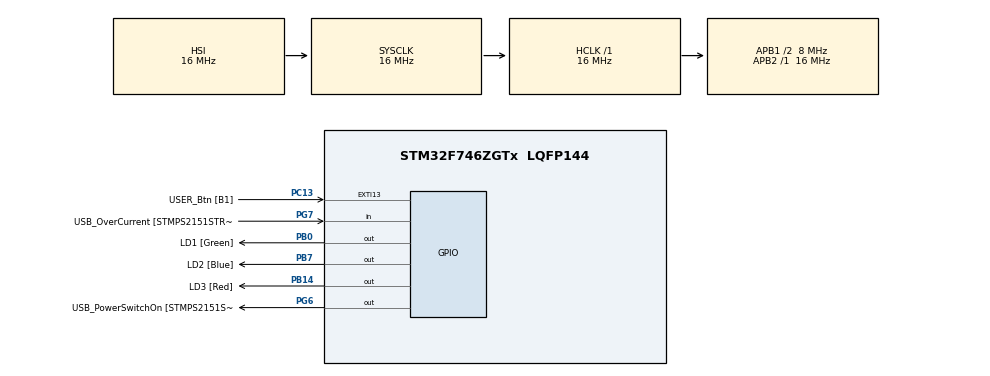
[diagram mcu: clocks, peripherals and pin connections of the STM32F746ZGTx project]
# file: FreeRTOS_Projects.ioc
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Mcu.Family=STM32F7
Mcu.Name=STM32F746ZGTx
Mcu.Package=LQFP144
NVIC.PriorityGroup=NVIC_PRIORITYGROUP_4
NVIC.TIM6_DAC_IRQn=true\:15\:0\:false\:false\:true\:false\:true\:true
NVIC.TimeBase=TIM6_DAC_IRQn
NVIC.TimeBaseIP=TIM6
PA1.GPIO_Label=RMII_REF_CLK [LAN8742A-CZ-TR_REFCLK0]
PA1.Signal=ETH_REF_CLK
PA10.GPIO_Label=USB_ID
PA10.Signal=USB_OTG_FS_ID
PA11.GPIO_Label=USB_DM
PA11.Signal=USB_OTG_FS_DM
PA12.GPIO_Label=USB_DP
PA12.Signal=USB_OTG_FS_DP
PA13.GPIO_Label=TMS
PA13.Signal=SYS_JTMS-SWDIO
PA14.GPIO_Label=TCK
PA14.Signal=SYS_JTCK-SWCLK
PA2.GPIO_Label=RMII_MDIO [LAN8742A-CZ-TR_MDIO]
PA2.Signal=ETH_MDIO
PA7.GPIO_Label=RMII_CRS_DV [LAN8742A-CZ-TR_CRS_DV]
PA7.Signal=ETH_CRS_DV
PA8.GPIO_Label=USB_SOF [TP1]
PA8.Signal=USB_OTG_FS_SOF
PA9.GPIO_Label=USB_VBUS
PA9.Signal=USB_OTG_FS_VBUS
PB0.GPIO_Label=LD1 [Green]
PB0.Signal=GPIO_Output
PB13.GPIO_Label=RMII_TXD1 [LAN8742A-CZ-TR_TXD1]
PB13.Signal=ETH_TXD1
PB14.GPIO_Label=LD3 [Red]
PB14.Signal=GPIO_Output
PB3.GPIO_Label=SW0
PB3.Signal=SYS_JTDO-SWO
PB7.GPIO_Label=LD2 [Blue]
PB7.Signal=GPIO_Output
PB8.Signal=I2C1_SCL
PB9.Signal=I2C1_SDA
PC1.GPIO_Label=RMII_MDC [LAN8742A-CZ-TR_MDC]
PC1.Signal=ETH_MDC
PC13.GPIO_Label=USER_Btn [B1]
PC13.Signal=GPXTI13
PC14/OSC32_IN.Signal=RCC_OSC32_IN
PC15/OSC32_OUT.Signal=RCC_OSC32_OUT
PC4.GPIO_Label=RMII_RXD0 [LAN8742A-CZ-TR_RXD0]
PC4.Signal=ETH_RXD0
PC5.GPIO_Label=RMII_RXD1 [LAN8742A-CZ-TR_RXD1]
PC5.Signal=ETH_RXD1
PD8.GPIO_Label=STLK_RX [STM32F103CBT6_PA3]
PD8.Signal=USART3_TX
PD9.GPIO_Label=STLK_TX [STM32F103CBT6_PA2]
PD9.Signal=USART3_RX
PG11.GPIO_Label=RMII_TX_EN [LAN8742A-CZ-TR_TXEN]
PG11.Signal=ETH_TX_EN
PG13.GPIO_Label=RMII_TXD0 [LAN8742A-CZ-TR_TXD0]
PG13.Signal=ETH_TXD0
PG6.GPIO_Label=USB_PowerSwitchOn [STMPS2151STR_EN]
PG6.Signal=GPIO_Output
PG7.GPIO_Label=USB_OverCurrent [STMPS2151STR_FAULT]
PG7.Signal=GPIO_Input
PH0/OSC_IN.GPIO_Label=MCO [STM32F103CBT6_PA8]
PH0/OSC_IN.Signal=RCC_OSC_IN
PH1/OSC_OUT.Signal=RCC_OSC_OUT
ProjectManager.HeapSize=0x200
ProjectManager.StackSize=0x400
ProjectManager.TargetToolchain=STM32CubeIDE
RCC.48MHZClocksFreq_Value=24000000
RCC.AHBFreq_Value=16000000
RCC.APB1CLKDivider=RCC_HCLK_DIV2
RCC.APB1Freq_Value=8000000
RCC.APB1TimFreq_Value=16000000
RCC.APB2Freq_Value=16000000
RCC.APB2TimFreq_Value=16000000
RCC.CortexFreq_Value=16000000
RCC.HCLKFreq_Value=16000000
RCC.HSE_VALUE=8000000
RCC.HSI_VALUE=16000000
RCC.LSE_VALUE=32768
RCC.PLLMUL=RCC_PLL_MUL9
RCC.PRESCALERUSB=RCC_USBCLKSOURCE_PLL_DIV1_5
RCC.SYSCLKFreq_VALUE=16000000
RCC.SYSCLKSourceVirtual=RCC_SYSCLKSOURCE_PLLCLK
RCC.USBFreq_Value=96000000
RCC.VCOOutputFreq_Value=192000000
VP_SYS_VS_tim6.Mode=TIM6
board=NUCLEO-F746ZG

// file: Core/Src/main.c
/* USER CODE BEGIN Header */
/**
  ******************************************************************************
  * @file           : main.c
  * @brief          : Main program body
  ******************************************************************************
  * @attention
  *
  * Copyright (c) 2025 STMicroelectronics.
  * All rights reserved.
  *
  * This software is licensed under terms that can be found in the LICENSE file
  * in the root directory of this software component.
  * If no LICENSE file comes with this software, it is provided AS-IS.
  *
  ******************************************************************************
  */
/* USER CODE END Header */
#include "main.h"

/* USER CODE BEGIN Includes */
#include "FreeRTOS.h"
#include "task.h"
#include <stdio.h>
/* USER CODE END Includes */

/* USER CODE BEGIN PV */
#define DWT_CTRL 	(*(volatile uint32_t*)0xE0001000)
#define DWT_CYCCNT 	(volatile uint32_t*)0xE0001004
/* USER CODE END PV */

void SystemClock_Config(void);
static void MX_GPIO_Init(void);

/* USER CODE BEGIN PFP */

static void task1_handler(void *params);
static void task2_handler(void *params);

/* USER CODE END PFP */

int main(void)
{

  /* USER CODE BEGIN 1 */
    TaskHandle_t task1_handle;
    TaskHandle_t task2_handle;

    BaseType_t status;
  /* USER CODE END 1 */

  /* MCU Configuration--------------------------------------------------------*/

  /* Reset of all peripherals, Initializes the Flash interface and the Systick. */
  HAL_Init();

  /* Configure the system clock */
  SystemClock_Config();

  /* Initialize all configured peripherals */
  MX_GPIO_Init();
  /* USER CODE BEGIN 2 */
	// Enable the DWT CYCCNT counter
  DWT_CTRL |= ( 1 <<0 ); // Set the CYCCNTENA bit in DWT_CTRL register to enable the cycle counter

  SEGGER_SYSVIEW_Conf(); // Configure SEGGER SystemView
  SEGGER_SYSVIEW_Start(); // Start recording
	// Create two tasks
  status = xTaskCreate(task1_handler, "Task1", 200, "Hello world from Task 1", 2, &task1_handle);
  configASSERT(status == pdPASS); // Ensure task creation was successful

  status = xTaskCreate(task2_handler, "Task2", 200, "Hello world from Task 2", 2, &task2_handle);
  configASSERT(status == pdPASS); // Ensure task creation was successful

    // Start the
  //  printf("Starting the scheduler\n");
   vTaskStartScheduler();

  /* USER CODE END 2 */

  /* Infinite loop */
  while (1)
  {

  }
}

void SystemClock_Config(void)
{
  RCC_OscInitTypeDef RCC_OscInitStruct = {0};
  RCC_ClkInitTypeDef RCC_ClkInitStruct = {0};

  /** Configure the main internal regulator output voltage
  */
  __HAL_RCC_PWR_CLK_ENABLE();
  __HAL_PWR_VOLTAGESCALING_CONFIG(PWR_REGULATOR_VOLTAGE_SCALE3);

  /** Initializes the RCC Oscillators according to the specified parameters
  * in the RCC_OscInitTypeDef structure.
  */
  RCC_OscInitStruct.OscillatorType = RCC_OSCILLATORTYPE_HSI;
  RCC_OscInitStruct.HSIState = RCC_HSI_ON;
  RCC_OscInitStruct.HSICalibrationValue = RCC_HSICALIBRATION_DEFAULT;
  RCC_OscInitStruct.PLL.PLLState = RCC_PLL_NONE;
  if (HAL_RCC_OscConfig(&RCC_OscInitStruct) != HAL_OK)
  {
    Error_Handler();
  }

  /** Initializes the CPU, AHB and APB buses clocks
  */
  RCC_ClkInitStruct.ClockType = RCC_CLOCKTYPE_HCLK|RCC_CLOCKTYPE_SYSCLK
                              |RCC_CLOCKTYPE_PCLK1|RCC_CLOCKTYPE_PCLK2;
  RCC_ClkInitStruct.SYSCLKSource = RCC_SYSCLKSOURCE_HSI;
  RCC_ClkInitStruct.AHBCLKDivider = RCC_SYSCLK_DIV1;
  RCC_ClkInitStruct.APB1CLKDivider = RCC_HCLK_DIV2;
  RCC_ClkInitStruct.APB2CLKDivider = RCC_HCLK_DIV1;

  if (HAL_RCC_ClockConfig(&RCC_ClkInitStruct, FLASH_LATENCY_0) != HAL_OK)
  {
    Error_Handler();
  }
}

static void MX_GPIO_Init(void)
{
  GPIO_InitTypeDef GPIO_InitStruct = {0};

  /* GPIO Ports Clock Enable */
  __HAL_RCC_GPIOC_CLK_ENABLE();
  __HAL_RCC_GPIOH_CLK_ENABLE();
  __HAL_RCC_GPIOA_CLK_ENABLE();
  __HAL_RCC_GPIOB_CLK_ENABLE();
  __HAL_RCC_GPIOD_CLK_ENABLE();
  __HAL_RCC_GPIOG_CLK_ENABLE();

  /*Configure GPIO pin Output Level */
  HAL_GPIO_WritePin(GPIOB, LD1_Pin|LD3_Pin|LD2_Pin, GPIO_PIN_RESET);

  /*Configure GPIO pin Output Level */
  HAL_GPIO_WritePin(USB_PowerSwitchOn_GPIO_Port, USB_PowerSwitchOn_Pin, GPIO_PIN_RESET);

  /*Configure GPIO pin : USER_Btn_Pin */
  GPIO_InitStruct.Pin = USER_Btn_Pin;
  GPIO_InitStruct.Mode = GPIO_MODE_IT_RISING;
  GPIO_InitStruct.Pull = GPIO_NOPULL;
  HAL_GPIO_Init(USER_Btn_GPIO_Port, &GPIO_InitStruct);

  /*Configure GPIO pins : RMII_MDC_Pin RMII_RXD0_Pin RMII_RXD1_Pin */
  GPIO_InitStruct.Pin = RMII_MDC_Pin|RMII_RXD0_Pin|RMII_RXD1_Pin;
  GPIO_InitStruct.Mode = GPIO_MODE_AF_PP;
  GPIO_InitStruct.Pull = GPIO_NOPULL;
  GPIO_InitStruct.Speed = GPIO_SPEED_FREQ_VERY_HIGH;
  GPIO_InitStruct.Alternate = GPIO_AF11_ETH;
  HAL_GPIO_Init(GPIOC, &GPIO_InitStruct);

  /*Configure GPIO pins : RMII_REF_CLK_Pin RMII_MDIO_Pin RMII_CRS_DV_Pin */
  GPIO_InitStruct.Pin = RMII_REF_CLK_Pin|RMII_MDIO_Pin|RMII_CRS_DV_Pin;
  GPIO_InitStruct.Mode = GPIO_MODE_AF_PP;
  GPIO_InitStruct.Pull = GPIO_NOPULL;
  GPIO_InitStruct.Speed = GPIO_SPEED_FREQ_VERY_HIGH;
  GPIO_InitStruct.Alternate = GPIO_AF11_ETH;
  HAL_GPIO_Init(GPIOA, &GPIO_InitStruct);

  /*Configure GPIO pins : LD1_Pin LD3_Pin LD2_Pin */
  GPIO_InitStruct.Pin = LD1_Pin|LD3_Pin|LD2_Pin;
  GPIO_InitStruct.Mode = GPIO_MODE_OUTPUT_PP;
  GPIO_InitStruct.Pull = GPIO_NOPULL;
  GPIO_InitStruct.Speed = GPIO_SPEED_FREQ_LOW;
  HAL_GPIO_Init(GPIOB, &GPIO_InitStruct);

  /*Configure GPIO pin : RMII_TXD1_Pin */
  GPIO_InitStruct.Pin = RMII_TXD1_Pin;
  GPIO_InitStruct.Mode = GPIO_MODE_AF_PP;
  GPIO_InitStruct.Pull = GPIO_NOPULL;
  GPIO_InitStruct.Speed = GPIO_SPEED_FREQ_VERY_HIGH;
  GPIO_InitStruct.Alternate = GPIO_AF11_ETH;
  HAL_GPIO_Init(RMII_TXD1_GPIO_Port, &GPIO_InitStruct);

  /*Configure GPIO pins : STLK_RX_Pin STLK_TX_Pin */
  GPIO_InitStruct.Pin = STLK_RX_Pin|STLK_TX_Pin;
  GPIO_InitStruct.Mode = GPIO_MODE_AF_PP;
  GPIO_InitStruct.Pull = GPIO_NOPULL;
  GPIO_InitStruct.Speed = GPIO_SPEED_FREQ_VERY_HIGH;
  GPIO_InitStruct.Alternate = GPIO_AF7_USART3;
  HAL_GPIO_Init(GPIOD, &GPIO_InitStruct);

  /*Configure GPIO pin : USB_PowerSwitchOn_Pin */
  GPIO_InitStruct.Pin = USB_PowerSwitchOn_Pin;
  GPIO_InitStruct.Mode = GPIO_MODE_OUTPUT_PP;
  GPIO_InitStruct.Pull = GPIO_NOPULL;
  GPIO_InitStruct.Speed = GPIO_SPEED_FREQ_LOW;
  HAL_GPIO_Init(USB_PowerSwitchOn_GPIO_Port, &GPIO_InitStruct);

  /*Configure GPIO pin : USB_OverCurrent_Pin */
  GPIO_InitStruct.Pin = USB_OverCurrent_Pin;
  GPIO_InitStruct.Mode = GPIO_MODE_INPUT;
  GPIO_InitStruct.Pull = GPIO_NOPULL;
  HAL_GPIO_Init(USB_OverCurrent_GPIO_Port, &GPIO_InitStruct);

  /*Configure GPIO pins : USB_SOF_Pin USB_ID_Pin USB_DM_Pin USB_DP_Pin */
  GPIO_InitStruct.Pin = USB_SOF_Pin|USB_ID_Pin|USB_DM_Pin|USB_DP_Pin;
  GPIO_InitStruct.Mode = GPIO_MODE_AF_PP;
  GPIO_InitStruct.Pull = GPIO_NOPULL;
  GPIO_InitStruct.Speed = GPIO_SPEED_FREQ_VERY_HIGH;
  GPIO_InitStruct.Alternate = GPIO_AF10_OTG_FS;
  HAL_GPIO_Init(GPIOA, &GPIO_InitStruct);

  /*Configure GPIO pin : USB_VBUS_Pin */
  GPIO_InitStruct.Pin = USB_VBUS_Pin;
  GPIO_InitStruct.Mode = GPIO_MODE_INPUT;
  GPIO_InitStruct.Pull = GPIO_NOPULL;
  HAL_GPIO_Init(USB_VBUS_GPIO_Port, &GPIO_InitStruct);

  /*Configure GPIO pins : RMII_TX_EN_Pin RMII_TXD0_Pin */
  GPIO_InitStruct.Pin = RMII_TX_EN_Pin|RMII_TXD0_Pin;
  GPIO_InitStruct.Mode = GPIO_MODE_AF_PP;
  GPIO_InitStruct.Pull = GPIO_NOPULL;
  GPIO_InitStruct.Speed = GPIO_SPEED_FREQ_VERY_HIGH;
  GPIO_InitStruct.Alternate = GPIO_AF11_ETH;
  HAL_GPIO_Init(GPIOG, &GPIO_InitStruct);

  /*Configure GPIO pins : PB8 PB9 */
  GPIO_InitStruct.Pin = GPIO_PIN_8|GPIO_PIN_9;
  GPIO_InitStruct.Mode = GPIO_MODE_AF_OD;
  GPIO_InitStruct.Pull = GPIO_NOPULL;
  GPIO_InitStruct.Speed = GPIO_SPEED_FREQ_VERY_HIGH;
  GPIO_InitStruct.Alternate = GPIO_AF4_I2C1;
  HAL_GPIO_Init(GPIOB, &GPIO_InitStruct);

}

/* USER CODE BEGIN 4 */
static void task1_handler(void *params)
{

    while(1)
    {
        // Print the parameter passed to the task
        printf("%s\n", (char *)params);
        // Toggle an LED (assuming LD1 is connected to GPIO pin)
      //  HAL_GPIO_TogglePin(GPIOB, LD1_Pin);
        // Delay for a while
       // vTaskDelay(pdMS_TO_TICKS(1000)); // Delay for 1000 ms
      // taskYIELD(); // Yield to allow other tasks to run
    }
}
static void task2_handler(void *params)
{
    while(1)
    {
        // Print the parameter passed to the task
        printf("%s\n", (char *)params);
        // Toggle an LED (assuming LD2 is connected to GPIO pin)
      //  HAL_GPIO_TogglePin(GPIOB, LD2_Pin);
        // Delay for a while
       // vTaskDelay(pdMS_TO_TICKS(1000)); // Delay for 1000 ms
       //  taskYIELD(); // Yield to allow other tasks to run
    }
}

#ifdef USE_FULL_ASSERT
/**
  * @brief  Reports the name of the source file and the source line number
  *         where the assert_param error has occurred.
  * @param  file: pointer to the source file name
  * @param  line: assert_param error line source number
  * @retval None
  */
void assert_failed(uint8_t *file, uint32_t line)
{
  /* USER CODE BEGIN 6 */
  /* User can add his own implementation to report the file name and line number,
     ex: printf("Wrong parameters value: file %s on line %d\r\n", file, line) */
  /* USER CODE END 6 */
}
#endif /* USE_FULL_ASSERT */

// Implementation of vAssertCalled for FreeRTOS configASSERT
void vAssertCalled(uint32_t ulLine, const char *pcFile)
{
    // Optionally, place a breakpoint here or output the file/line info
    (void)ulLine;
    (void)pcFile;
    while(1)
    {
        // Infinite loop to allow debugging
    }
}

/* USER CODE END 4 */

void Error_Handler(void)
{
  __disable_irq();
  while (1)
  {
  }
}
